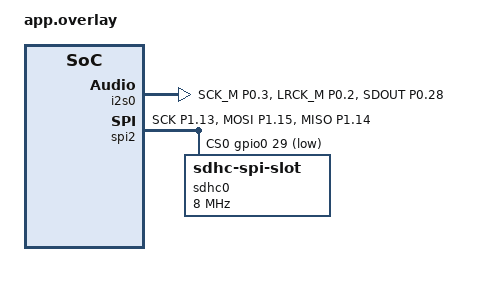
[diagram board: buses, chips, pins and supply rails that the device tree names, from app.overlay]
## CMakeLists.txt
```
cmake_minimum_required(VERSION 3.20.0)
find_package(Zephyr REQUIRED HINTS $ENV{ZEPHYR_BASE})
project(spkr_test)
target_sources(app PRIVATE src/main.c)
```

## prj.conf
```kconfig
# SD-card WAV player test (MAX98357A) -- stock Zephyr i2s_nrfx + SPI SD + FatFs.
CONFIG_I2S=y
CONFIG_GPIO=y

# microSD over SPI + FAT filesystem
CONFIG_SPI=y
CONFIG_SDHC=y
CONFIG_DISK_DRIVERS=y
CONFIG_DISK_DRIVER_SDMMC=y
CONFIG_FILE_SYSTEM=y
CONFIG_FAT_FILESYSTEM_ELM=y

# math (tone gen removed, but keep newlib for the build) + FPU
CONFIG_NEWLIB_LIBC=y
CONFIG_FPU=y

# USB-CDC console: startup log + the standing 'b'/'r' commands
CONFIG_LOG=y
CONFIG_CONSOLE=y
CONFIG_UART_CONSOLE=y
CONFIG_UART_LINE_CTRL=y
CONFIG_UART_INTERRUPT_DRIVEN=y
CONFIG_REBOOT=y

# FatFs + file I/O need a roomier main stack
CONFIG_MAIN_STACK_SIZE=8192
```

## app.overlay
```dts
/* SD-card WAV player test on XIAO nRF52840 Sense.
 *
 *  I2S -> MAX98357A speaker  (stock Zephyr driver, original pins):
 *    BCLK->D1/P0.03, LRCK->D0/P0.02, DIN->D2/P0.28, amp SD->D7/P1.12 (GPIO).
 *
 *  microSD over SPI (SPIM2 -- NOT SPIM1, which shares the HW block with the
 *  PPG's I2C1; SPIM2 stays conflict-free for the integrated build):
 *    CLK->D8/P1.13, MISO->D9/P1.14, MOSI->D10/P1.15, CS->D3/P0.29.
 */
&pinctrl {
	i2s0_default_alt: i2s0_default_alt {
		group1 {
			psels = <NRF_PSEL(I2S_SCK_M, 0, 3)>,     /* BCLK -> D1/P0.03 */
				<NRF_PSEL(I2S_LRCK_M, 0, 2)>,    /* LRCK -> D0/P0.02 */
				<NRF_PSEL(I2S_SDOUT, 0, 28)>;    /* DIN  -> D2/P0.28 */
		};
	};

	spi2_default_alt: spi2_default_alt {
		group1 {
			psels = <NRF_PSEL(SPIM_SCK, 1, 13)>,     /* CLK  -> D8/P1.13 */
				<NRF_PSEL(SPIM_MOSI, 1, 15)>,    /* MOSI -> D10/P1.15 */
				<NRF_PSEL(SPIM_MISO, 1, 14)>;    /* MISO -> D9/P1.14 */
		};
	};
	spi2_sleep_alt: spi2_sleep_alt {
		group1 {
			psels = <NRF_PSEL(SPIM_SCK, 1, 13)>,
				<NRF_PSEL(SPIM_MOSI, 1, 15)>,
				<NRF_PSEL(SPIM_MISO, 1, 14)>;
			low-power-enable;
		};
	};
};

&i2s0 {
	status = "okay";
	pinctrl-0 = <&i2s0_default_alt>;
	pinctrl-names = "default";
};

&spi2 {
	status = "okay";
	pinctrl-0 = <&spi2_default_alt>;
	pinctrl-1 = <&spi2_sleep_alt>;
	pinctrl-names = "default", "sleep";
	cs-gpios = <&gpio0 29 GPIO_ACTIVE_LOW>;   /* CS -> D3/P0.29 */

	sdhc0: sdhc@0 {
		compatible = "zephyr,sdhc-spi-slot";
		reg = <0>;
		status = "okay";
		spi-max-frequency = <8000000>;        /* [UNIT] 8 MHz -- safe for SPI SD */
		mmc {
			compatible = "zephyr,sdmmc-disk";
			disk-name = "SD";
			status = "okay";
		};
	};
};
```

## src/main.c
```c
/*
 * SD-card WAV player test (MAX98357A) on the XIAO nRF52840 Sense.
 *
 * Mounts a FAT microSD over SPI, opens /SD:/music.wav, parses the WAV header,
 * and streams its 16-bit PCM straight to I2S on a loop. Mono is expanded to
 * stereo; the I2S frame rate follows the file's sample rate. Stock Zephyr
 * i2s_nrfx driver. Console: 'b' = UF2 bootloader, 'r' = reboot.
 *
 * Card: FAT32, 16-bit PCM WAV named music.wav at the root.
 * Wiring: I2S BCLK->D1 LRCK->D0 DIN->D2 ampSD->D7 ; SD CLK->D8 MISO->D9
 *         MOSI->D10 CS->D3 ; SD 3V3->3V3 GND->GND.
 */
#include <zephyr/kernel.h>
#include <zephyr/device.h>
#include <zephyr/drivers/i2s.h>
#include <zephyr/drivers/gpio.h>
#include <zephyr/drivers/uart.h>
#include <zephyr/sys/reboot.h>
#include <zephyr/sys/util.h>
#include <zephyr/fs/fs.h>
#include <ff.h>
#include <zephyr/logging/log.h>
#include <hal/nrf_power.h>
#include <string.h>

LOG_MODULE_REGISTER(spkr, LOG_LEVEL_INF);

/* ---- standing 'b'/'r' console (ISR sets a flag, loop acts on it) ---- */
static const struct device *console_uart =
	DEVICE_DT_GET(DT_CHOSEN(zephyr_console));
static volatile uint8_t pending_cmd;

static void uart_rx_cb(const struct device *dev, void *ud)
{
	ARG_UNUSED(ud);
	uint8_t c;

	if (!uart_irq_update(dev) || !uart_irq_rx_ready(dev)) {
		return;
	}
	while (uart_fifo_read(dev, &c, 1) == 1) {
		if (c == 'r' || c == 'R') {
			pending_cmd = 'r';
		} else if (c == 'b' || c == 'B') {
			pending_cmd = 'b';
		}
	}
}

static void service_console(void)
{
	uint8_t cmd = pending_cmd;

	if (cmd == 'r') {
		pending_cmd = 0;
		LOG_INF("rebooting...");
		k_sleep(K_MSEC(50));
		sys_reboot(SYS_REBOOT_COLD);
	} else if (cmd == 'b') {
		pending_cmd = 0;
		LOG_INF("entering UF2 bootloader...");
		k_sleep(K_MSEC(50));
		NRF_POWER->GPREGRET = 0x57;   /* Adafruit nRF52 "stay in UF2" magic */
		sys_reboot(SYS_REBOOT_COLD);
	}
}

/* Spin forever servicing the console -- used on fatal setup errors so 'b'/'r'
 * still work without a physical double-tap. */
static void idle_console(void)
{
	while (1) {
		service_console();
		k_msleep(50);
	}
}

/* ---- SD / FAT ---- */
#define WAV_PATH "/SD:/music.wav"

static FATFS fat_fs;
static struct fs_mount_t mp = {
	.type = FS_FATFS,
	.fs_data = &fat_fs,
	.mnt_point = "/SD:",
};

/* ---- WAV ---- */
struct wav_info {
	uint32_t rate;
	uint16_t channels;
	uint16_t bits;
	uint32_t data_off;   /* byte offset of PCM start */
	uint32_t data_len;   /* PCM byte count */
};

static uint16_t rd16(const uint8_t *p) { return p[0] | (p[1] << 8); }
static uint32_t rd32(const uint8_t *p)
{
	return p[0] | (p[1] << 8) | (p[2] << 16) | (p[3] << 24);
}

/* Walk the RIFF chunks to find `fmt ` and `data`. */
static int parse_wav(struct fs_file_t *f, struct wav_info *w)
{
	uint8_t hdr[12];

	if (fs_read(f, hdr, 12) != 12) {
		return -1;
	}
	if (memcmp(hdr, "RIFF", 4) || memcmp(hdr + 8, "WAVE", 4)) {
		return -2;
	}

	bool have_fmt = false;

	while (1) {
		uint8_t ch[8];

		if (fs_read(f, ch, 8) != 8) {
			return -3;
		}
		uint32_t sz = rd32(ch + 4);

		if (!memcmp(ch, "fmt ", 4)) {
			uint8_t fmt[16];

			if (fs_read(f, fmt, 16) != 16) {
				return -4;
			}
			w->channels = rd16(fmt + 2);
			w->rate     = rd32(fmt + 4);
			w->bits     = rd16(fmt + 14);
			have_fmt = true;
			if (sz > 16) {
				fs_seek(f, sz - 16, FS_SEEK_CUR);
			}
		} else if (!memcmp(ch, "data", 4)) {
			w->data_len = sz;
			w->data_off = (uint32_t)fs_tell(f);
			return have_fmt ? 0 : -5;
		} else {
			fs_seek(f, sz + (sz & 1), FS_SEEK_CUR);   /* skip, word-align */
		}
	}
}

/* ---- I2S streaming ---- */
#define FRAMES_PER_BLOCK  512                              /* ~11.6 ms @ 44.1k */
#define I2S_BLOCK_BYTES   (FRAMES_PER_BLOCK * 2 * 2)       /* stereo 16-bit */
#define NUM_BLOCKS        6                                /* buffer SD latency */

K_MEM_SLAB_DEFINE(tx_slab, I2S_BLOCK_BYTES, NUM_BLOCKS, 4);

static struct fs_file_t wav;
static struct wav_info  wi;
static uint32_t         pos;                /* bytes consumed from data chunk */
static uint8_t          filebuf[I2S_BLOCK_BYTES];

/* Read one block of source PCM (looping at EOF) and lay it into the stereo
 * I2S block -- mono duplicated to L+R, stereo copied straight through. */
static void fill_block(int16_t *block)
{
	uint32_t want = FRAMES_PER_BLOCK * wi.channels * 2;   /* source bytes */
	uint32_t got = 0;

	while (got < want) {
		uint32_t remain = wi.data_len - pos;

		if (remain == 0) {
			fs_seek(&wav, wi.data_off, FS_SEEK_SET);   /* loop the track */
			pos = 0;
			continue;
		}
		uint32_t chunk = MIN(want - got, remain);
		int r = fs_read(&wav, filebuf + got, chunk);

		if (r <= 0) {                                  /* read error -> silence */
			memset(filebuf + got, 0, want - got);
			got = want;
			break;
		}
		got += r;
		pos += r;
	}

	if (wi.channels == 1) {
		const int16_t *src = (const int16_t *)filebuf;

		for (int i = 0; i < FRAMES_PER_BLOCK; i++) {
			block[2 * i] = block[2 * i + 1] = src[i];
		}
	} else {
		memcpy(block, filebuf, I2S_BLOCK_BYTES);
	}
}

int main(void)
{
	const struct device *i2s   = DEVICE_DT_GET(DT_NODELABEL(i2s0));
	const struct device *gpio1 = DEVICE_DT_GET(DT_NODELABEL(gpio1));

	if (!device_is_ready(i2s) || !device_is_ready(gpio1) ||
	    !device_is_ready(console_uart)) {
		LOG_ERR("device not ready");
		return 0;
	}

	uart_irq_callback_user_data_set(console_uart, uart_rx_cb, NULL);
	uart_irq_rx_enable(console_uart);

	gpio_pin_configure(gpio1, 12, GPIO_OUTPUT_ACTIVE);   /* amp SD (D7) high */

	int rc = fs_mount(&mp);
	if (rc) {
		LOG_ERR("SD mount failed: %d (card inserted? FAT32? wiring?)", rc);
		idle_console();
	}
	LOG_INF("SD mounted");

	fs_file_t_init(&wav);
	rc = fs_open(&wav, WAV_PATH, FS_O_READ);
	if (rc) {
		LOG_ERR("open %s failed: %d", WAV_PATH, rc);
		idle_console();
	}

	rc = parse_wav(&wav, &wi);
	if (rc) {
		LOG_ERR("WAV parse failed: %d", rc);
		idle_console();
	}
	LOG_INF("WAV: %u Hz, %u ch, %u-bit, %u KB PCM",
		wi.rate, wi.channels, wi.bits, wi.data_len / 1024);

	if (wi.bits != 16 || wi.channels < 1 || wi.channels > 2) {
		LOG_ERR("need a 16-bit mono/stereo WAV");
		idle_console();
	}

	struct i2s_config cfg = {
		.word_size      = 16,
		.channels       = 2,               /* stereo I2S framing */
		.format         = I2S_FMT_DATA_FORMAT_I2S,
		.options        = I2S_OPT_BIT_CLK_MASTER | I2S_OPT_FRAME_CLK_MASTER,
		.frame_clk_freq = wi.rate,         /* follow the file's rate */
		.mem_slab       = &tx_slab,
		.block_size     = I2S_BLOCK_BYTES,
		.timeout        = 2000,
	};
	rc = i2s_configure(i2s, I2S_DIR_TX, &cfg);
	if (rc) {
		LOG_ERR("i2s_configure: %d", rc);
		idle_console();
	}

	fs_seek(&wav, wi.data_off, FS_SEEK_SET);
	pos = 0;
	LOG_INF("playing %s on loop  ('b'=bootloader 'r'=reboot)", WAV_PATH);

	int primed = 0;

	while (1) {
		service_console();

		void *block;
		rc = k_mem_slab_alloc(&tx_slab, &block, K_MSEC(200));
		if (rc) {
			LOG_WRN("slab alloc timeout");
			continue;
		}

		fill_block((int16_t *)block);

		rc = i2s_write(i2s, block, I2S_BLOCK_BYTES);
		if (rc) {
			LOG_ERR("i2s_write: %d", rc);
			k_mem_slab_free(&tx_slab, block);
			k_msleep(50);
			continue;
		}

		if (primed < 2 && ++primed == 2) {
			rc = i2s_trigger(i2s, I2S_DIR_TX, I2S_TRIGGER_START);
			if (rc) {
				LOG_ERR("START: %d", rc);
			} else {
				LOG_INF("I2S started -- music should be playing");
			}
		}
	}
}
```
